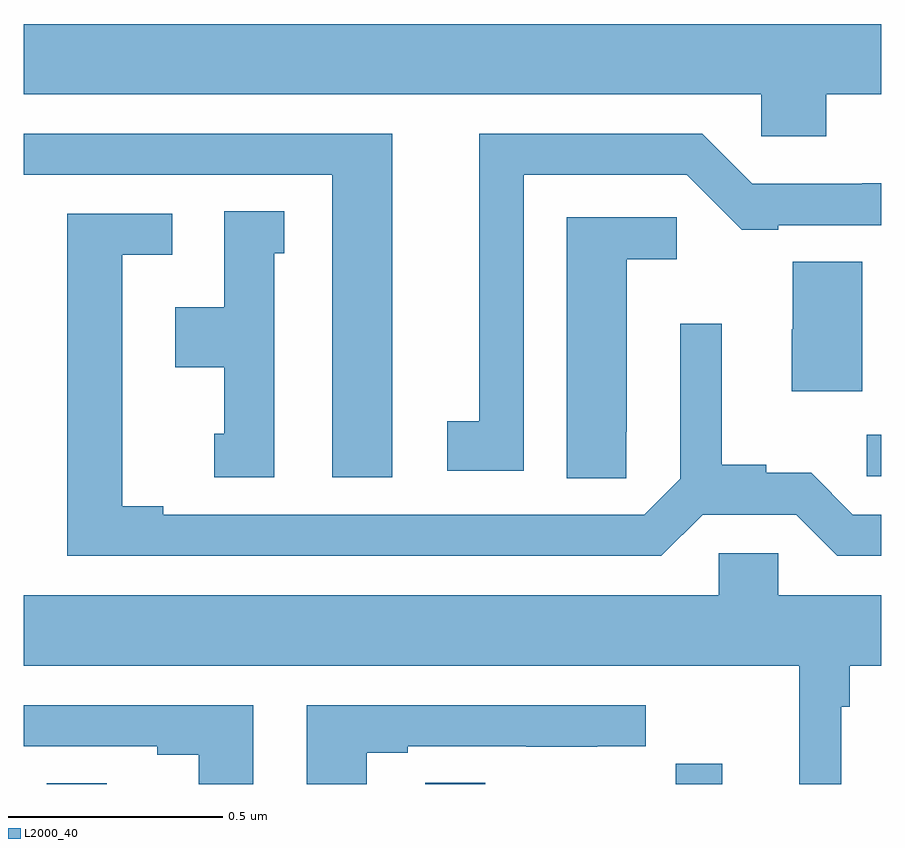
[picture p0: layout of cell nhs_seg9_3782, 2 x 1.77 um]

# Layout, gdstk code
import gdstk
lib = gdstk.Library(unit=1e-6, precision=1e-09)
def R(c, l, rs):  # rectangles x0, y0, x1, y1
    for r in rs: c.add(gdstk.rectangle(r[:2], r[2:], *l))
def P(c, l, *ps):  # polygons
    for p in ps: c.add(gdstk.Polygon(p, *l))
L2000_40 = (2000, 40)

nhs_seg9_3782 = lib.new_cell('nhs_seg9_3782')
R(nhs_seg9_3782, L2000_40, [(158.054,1173.5,158.194,1173.502), (158.937,1173.5,159.076,1173.503), (159.52,1173.5,159.629,1173.547), (159.966,1174.218,160,1174.314)])
P(nhs_seg9_3782, L2000_40, [(159.872,1175.108),(160,1175.108),(160,1175.272),(158,1175.272),(158,1175.108),(159.72,1175.108),(159.72,1175.01),(159.872,1175.01)],
  [(158.86,1175.016),(158,1175.016),(158,1174.92),(158.72,1174.92),(158.72,1174.215),(158.86,1174.215)],
  [(159.166,1174.92),(159.546,1174.92),(159.674,1174.792),(159.76,1174.792),(159.76,1174.803),(160,1174.803),(160,1174.901),(159.955,1174.901),(159.955,1174.899),(159.699,1174.899),(159.582,1175.016),(159.062,1175.016),(159.062,1174.346),(158.988,1174.346),(158.988,1174.23),(159.166,1174.23)],
  [(158.584,1174.737),(158.608,1174.737),(158.608,1174.835),(158.468,1174.835),(158.468,1174.612),(158.354,1174.612),(158.354,1174.472),(158.468,1174.472),(158.468,1174.317),(158.444,1174.317),(158.444,1174.215),(158.584,1174.215)],
  [(159.583,1174.128),(159.801,1174.128),(159.897,1174.032),(160,1174.032),(160,1174.128),(159.933,1174.128),(159.836,1174.226),(159.732,1174.226),(159.732,1174.244),(159.628,1174.244),(159.628,1174.573),(159.531,1174.573),(159.531,1174.212),(159.447,1174.128),(158.326,1174.128),(158.326,1174.148),(158.23,1174.148),(158.23,1174.734),(158.347,1174.734),(158.347,1174.83),(158.102,1174.83),(158.102,1174.032),(159.487,1174.032)],
  [(159.405,1174.321),(159.406,1174.321),(159.406,1174.724),(159.523,1174.724),(159.523,1174.821),(159.266,1174.821),(159.266,1174.213),(159.405,1174.213)],
  [(159.955,1174.718),(159.793,1174.718),(159.793,1174.56),(159.791,1174.56),(159.791,1174.416),(159.955,1174.416)],
  [(159.906,1173.68),(159.926,1173.68),(159.926,1173.776),(160,1173.776),(160,1173.94),(159.759,1173.94),(159.759,1174.038),(159.621,1174.038),(159.621,1173.94),(158,1173.94),(158,1173.776),(159.809,1173.776),(159.809,1173.5),(159.906,1173.5)],
  [(158.536,1173.684),(158,1173.684),(158,1173.588),(158.312,1173.588),(158.312,1173.568),(158.408,1173.568),(158.408,1173.5),(158.536,1173.5)],
  [(158.8,1173.573),(158.896,1173.573),(158.896,1173.588),(159.172,1173.588),(159.172,1173.587),(159.338,1173.587),(159.338,1173.588),(159.451,1173.588),(159.451,1173.684),(158.66,1173.684),(158.66,1173.5),(158.8,1173.5)])

lib.write_gds('nhs_seg9_3782.gds')
